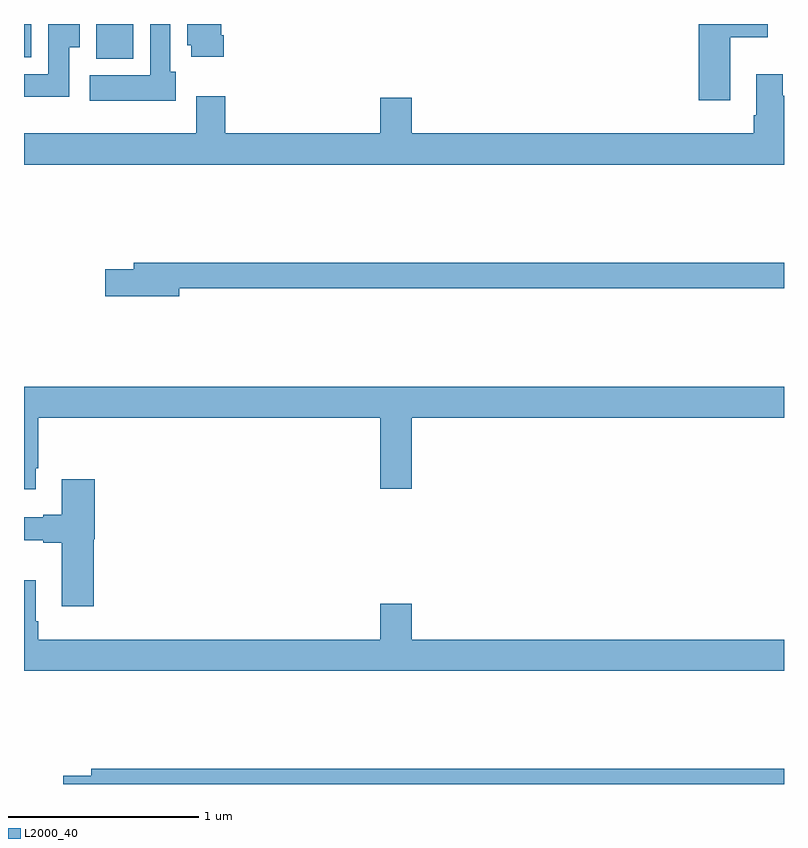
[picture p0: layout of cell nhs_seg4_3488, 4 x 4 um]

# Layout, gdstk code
import gdstk
lib = gdstk.Library(unit=1e-6, precision=1e-09)
def R(c, l, rs):  # rectangles x0, y0, x1, y1
    for r in rs: c.add(gdstk.rectangle(r[:2], r[2:], *l))
def P(c, l, *ps):  # polygons
    for p in ps: c.add(gdstk.Polygon(p, *l))
L2000_40 = (2000, 40)

nhs_seg4_3488 = lib.new_cell('nhs_seg4_3488')
R(nhs_seg4_3488, L2000_40, [(295.379,790.718,295.575,790.9), (295,790.724,295.039,790.9)])
P(nhs_seg4_3488, L2000_40, [(295.237,790.777),(295.294,790.777),(295.294,790.9),(295.127,790.9),(295.127,790.636),(295,790.636),(295,790.518),(295.237,790.518)],
  [(298.717,790.829),(298.915,790.829),(298.915,790.9),(298.55,790.9),(298.55,790.5),(298.717,790.5)],
  [(295.798,790.65),(295.771,790.65),(295.771,790.9),(295.664,790.9),(295.664,790.63),(295.347,790.63),(295.347,790.496),(295.798,790.496)],
  [(296.051,790.84),(296.038,790.84),(296.038,790.9),(295.859,790.9),(295.859,790.788),(295.88,790.788),(295.88,790.728),(296.051,790.728)],
  [(296.876,790.513),(296.876,790.324),(296.06,790.324),(296.06,790.519),(295.907,790.519),(295.907,790.324),(295,790.324),(295,790.16),(299,790.16),(299,790.523),(298.993,790.523),(298.993,790.636),(298.853,790.636),(298.853,790.42),(298.841,790.42),(298.841,790.324),(297.04,790.324),(297.04,790.513)],
  [(295.816,789.508),(299,789.508),(299,789.644),(295.577,789.644),(295.577,789.608),(295.428,789.608),(295.428,789.466),(295.816,789.466)],
  [(295.063,788.563),(295.076,788.563),(295.076,788.828),(296.876,788.828),(296.876,788.454),(297.04,788.454),(297.04,788.828),(299,788.828),(299,788.992),(295,788.992),(295,788.451),(295.063,788.451)],
  [(295.367,788.187),(295.372,788.187),(295.372,788.503),(295.199,788.503),(295.199,788.318),(295.1,788.318),(295.1,788.305),(295,788.305),(295,788.183),(295.1,788.183),(295.1,788.171),(295.199,788.171),(295.199,787.836),(295.367,787.836)],
  [(299,787.66),(297.04,787.66),(297.04,787.849),(296.876,787.849),(296.876,787.66),(295.076,787.66),(295.076,787.756),(295.063,787.756),(295.063,787.972),(295,787.972),(295,787.496),(299,787.496)],
  [(299,786.98),(295.355,786.98),(295.355,786.944),(295.206,786.944),(295.206,786.9),(299,786.9)])

lib.write_gds('nhs_seg4_3488.gds')
